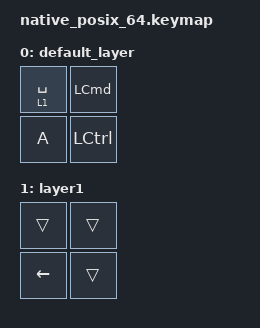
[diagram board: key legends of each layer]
/*
 * 左親指 Space (config/KobitoKey.keymap の lt_l) の挙動を固定する。
 *
 * 実機の pos 33 = `&lt_l 1 SPACE`。修飾キーは Space より「先」に押されるため
 * hold-tap の言う『他のキーの押下』に数えられず、retro-tap が無いと 180ms 超で
 * 必ず Layer 1 が確定して Space が消える (Cmd+Ctrl+Space の絵文字ピッカーが
 * 開かない症状)。retro-tap がその救済になっていることと、既知の限界
 * (Space より先に修飾キーを離すと救済されない) の両方をここで固定する。
 *
 * キー位置 (2x2 mock kscan, position = row*2 + col):
 *   0 = lt_l 1 SPACE   1 = LCMD
 *   2 = A / Layer 1 で LEFT
 *   3 = LCTRL
 */

#include <dt-bindings/zmk/keys.h>
#include <behaviors.dtsi>
#include <dt-bindings/zmk/kscan_mock.h>

/ {
    behaviors {
        /* config/KobitoKey.keymap の lt_l と同一パラメータに保つこと。
         * 乖離は scripts/doctor.sh が検出する。 */
        lt_l: lt_left_thumb {
            compatible = "zmk,behavior-hold-tap";
            #binding-cells = <2>;
            flavor = "hold-preferred";
            tapping-term-ms = <180>;
            quick-tap-ms = <125>;
            require-prior-idle-ms = <90>;
            bindings = <&mo>, <&kp>;
            retro-tap;
        };
    };

    keymap {
        compatible = "zmk,keymap";

        default_layer {
            bindings = <
                &lt_l 1 SPACE  &kp LCMD
                &kp A          &kp LCTRL>;
        };

        layer1 {
            bindings = <
                &trans    &trans
                &kp LEFT  &trans>;
        };
    };
};

&kscan {
    events = <
        /* A: 短いタップ -> SPACE (従来どおり) */
        ZMK_MOCK_PRESS(0,0,10)
        ZMK_MOCK_RELEASE(0,0,400)

        /* B: 単独長押しのまま離す -> retro-tap で SPACE が出る */
        ZMK_MOCK_PRESS(0,0,400)
        ZMK_MOCK_RELEASE(0,0,400)

        /* C: 長押し + 他キー -> Layer 1 が発動し LEFT が出る (Space は出ない) */
        ZMK_MOCK_PRESS(0,0,400)
        ZMK_MOCK_PRESS(1,0,10)
        ZMK_MOCK_RELEASE(1,0,10)
        ZMK_MOCK_RELEASE(0,0,400)

        /* D: Cmd を押したまま Space を長押しし、Space から先に離す
         *    -> retro-tap が成立し、Cmd を保持したまま SPACE が出る
         *    (これが絵文字ピッカーが開くケース) */
        ZMK_MOCK_PRESS(0,1,10)
        ZMK_MOCK_PRESS(0,0,400)
        ZMK_MOCK_RELEASE(0,0,10)
        ZMK_MOCK_RELEASE(0,1,400)

        /* E: 既知の限界 — Cmd を Space より先に離すと、その離上イベントが
         *    update_hold_status_for_retro_tap で hold へ昇格させるため
         *    SPACE は出ない。直ったと誤認しないようここで固定する。 */
        ZMK_MOCK_PRESS(0,1,10)
        ZMK_MOCK_PRESS(0,0,400)
        ZMK_MOCK_RELEASE(0,1,10)
        ZMK_MOCK_RELEASE(0,0,10)
    >;
};
